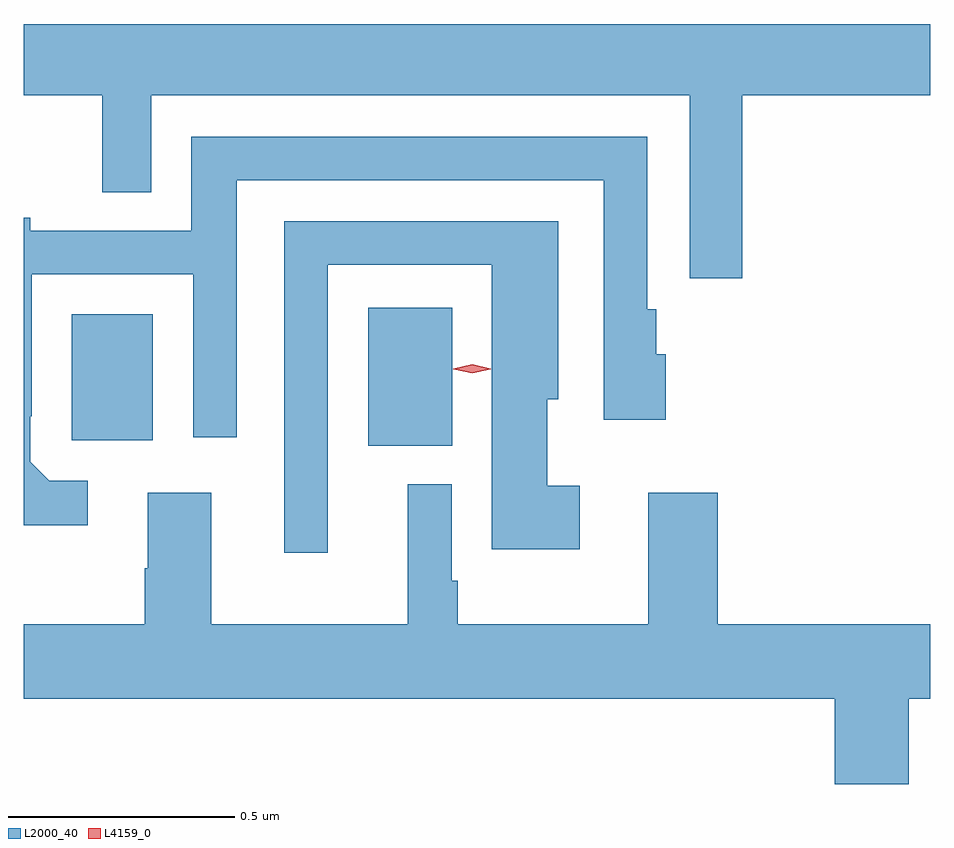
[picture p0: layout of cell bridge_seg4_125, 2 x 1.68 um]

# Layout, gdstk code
import gdstk
lib = gdstk.Library(unit=1e-6, precision=1e-09)
def R(c, l, rs):  # rectangles x0, y0, x1, y1
    for r in rs: c.add(gdstk.rectangle(r[:2], r[2:], *l))
def P(c, l, *ps):  # polygons
    for p in ps: c.add(gdstk.Polygon(p, *l))
L2000_40 = (2000, 40)
L4159_0 = (4159, 0)

bridge_seg4_125 = lib.new_cell('bridge_seg4_125')
R(bridge_seg4_125, L2000_40, [(307.835,804.038,308.02,804.343), (307.181,804.051,307.36,804.328)])
P(bridge_seg4_125, L2000_40, [(308.66,804.812),(309.075,804.812),(309.075,804.969),(307.075,804.969),(307.075,804.812),(307.248,804.812),(307.248,804.598),(307.356,804.598),(307.356,804.812),(308.544,804.812),(308.544,804.408),(308.66,804.408)],
  [(307.216,803.961),(307.131,803.961),(307.089,804.003),(307.089,804.103),(307.092,804.103),(307.092,804.417),(307.449,804.417),(307.449,804.057),(307.545,804.057),(307.545,804.624),(308.355,804.624),(308.355,804.096),(308.492,804.096),(308.492,804.24),(308.471,804.24),(308.471,804.34),(308.451,804.34),(308.451,804.72),(307.445,804.72),(307.445,804.513),(307.089,804.513),(307.089,804.542),(307.075,804.542),(307.075,803.863),(307.216,803.863)],
  [(307.746,804.438),(308.108,804.438),(308.108,803.81),(308.302,803.81),(308.302,803.95),(308.23,803.95),(308.23,804.141),(308.254,804.141),(308.254,804.534),(307.65,804.534),(307.65,803.802),(307.746,803.802)],
  [(308.864,803.292),(309.028,803.292),(309.028,803.48),(309.075,803.48),(309.075,803.644),(308.606,803.644),(308.606,803.935),(308.453,803.935),(308.453,803.644),(308.032,803.644),(308.032,803.74),(308.019,803.74),(308.019,803.953),(307.922,803.953),(307.922,803.644),(307.489,803.644),(307.489,803.935),(307.349,803.935),(307.349,803.768),(307.342,803.768),(307.342,803.644),(307.075,803.644),(307.075,803.48),(308.864,803.48)])
P(bridge_seg4_125, L4159_0, [(308.064,804.198),(308.023,804.207),(308.023,804.208),(308.023,804.208),(308.064,804.218),(308.105,804.208),(308.105,804.208),(308.105,804.207)])

lib.write_gds('bridge_seg4_125.gds')
